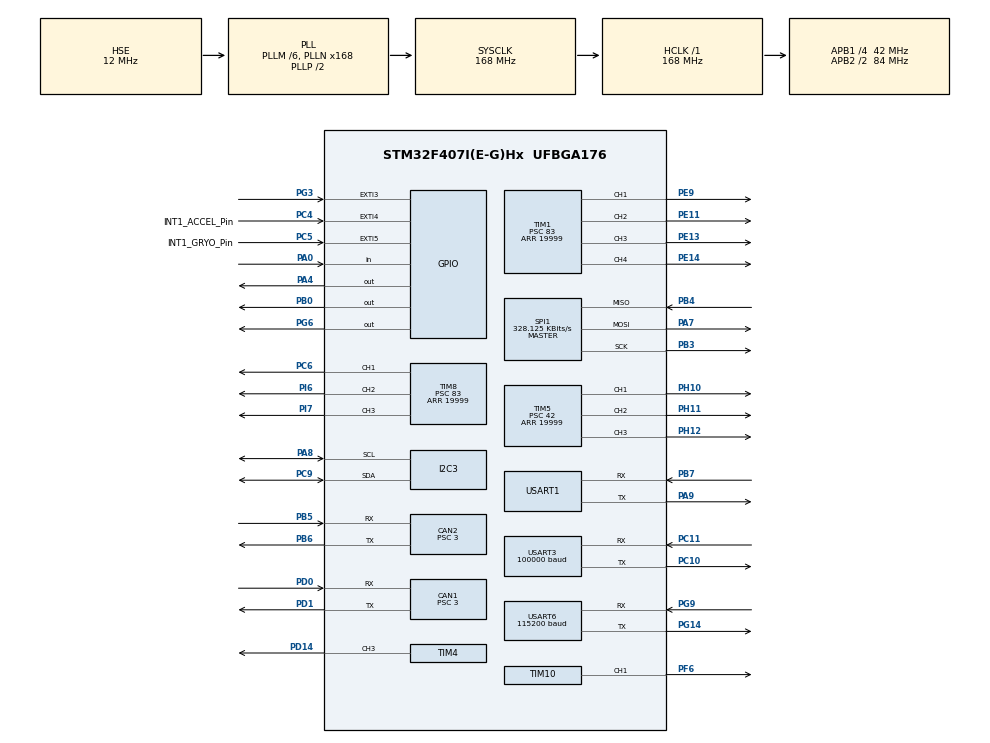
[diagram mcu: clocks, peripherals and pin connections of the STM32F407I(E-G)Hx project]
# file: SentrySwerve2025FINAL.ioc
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CAN1.BS1=CAN_BS1_10TQ
CAN1.BS2=CAN_BS2_3TQ
CAN1.CalculateBaudRate=1000000
CAN1.CalculateTimeBit=1000
CAN1.CalculateTimeQuantum=71.42857142857143
CAN1.Prescaler=3
CAN2.BS1=CAN_BS1_10TQ
CAN2.BS2=CAN_BS2_3TQ
CAN2.CalculateBaudRate=1000000
CAN2.CalculateTimeBit=1000
CAN2.CalculateTimeQuantum=71.42857142857143
CAN2.Prescaler=3
Dma.Request0=USART3_RX
Dma.Request1=USART1_RX
Dma.Request2=USART6_RX
Dma.USART1_RX.1.Direction=DMA_PERIPH_TO_MEMORY
Dma.USART1_RX.1.FIFOMode=DMA_FIFOMODE_DISABLE
Dma.USART1_RX.1.Instance=DMA2_Stream2
Dma.USART1_RX.1.MemDataAlignment=DMA_MDATAALIGN_BYTE
Dma.USART1_RX.1.MemInc=DMA_MINC_ENABLE
Dma.USART1_RX.1.Mode=DMA_NORMAL
Dma.USART1_RX.1.PeriphDataAlignment=DMA_PDATAALIGN_BYTE
Dma.USART1_RX.1.PeriphInc=DMA_PINC_DISABLE
Dma.USART1_RX.1.Priority=DMA_PRIORITY_VERY_HIGH
Dma.USART3_RX.0.Direction=DMA_PERIPH_TO_MEMORY
Dma.USART3_RX.0.FIFOMode=DMA_FIFOMODE_DISABLE
Dma.USART3_RX.0.Instance=DMA1_Stream1
Dma.USART3_RX.0.MemDataAlignment=DMA_MDATAALIGN_BYTE
Dma.USART3_RX.0.MemInc=DMA_MINC_ENABLE
Dma.USART3_RX.0.Mode=DMA_CIRCULAR
Dma.USART3_RX.0.PeriphDataAlignment=DMA_PDATAALIGN_BYTE
Dma.USART3_RX.0.PeriphInc=DMA_PINC_DISABLE
Dma.USART3_RX.0.Priority=DMA_PRIORITY_VERY_HIGH
Dma.USART6_RX.2.Direction=DMA_PERIPH_TO_MEMORY
Dma.USART6_RX.2.FIFOMode=DMA_FIFOMODE_DISABLE
Dma.USART6_RX.2.Instance=DMA2_Stream1
Dma.USART6_RX.2.MemDataAlignment=DMA_MDATAALIGN_BYTE
Dma.USART6_RX.2.MemInc=DMA_MINC_ENABLE
Dma.USART6_RX.2.Mode=DMA_NORMAL
Dma.USART6_RX.2.PeriphDataAlignment=DMA_PDATAALIGN_BYTE
Dma.USART6_RX.2.PeriphInc=DMA_PINC_DISABLE
Dma.USART6_RX.2.Priority=DMA_PRIORITY_VERY_HIGH
FREERTOS.INCLUDE_pcTaskGetTaskName=1
FREERTOS.INCLUDE_xTaskGetHandle=1
FREERTOS.Tasks01=FlowManager,48,128,StartFlowManager,Default,NULL,Dynamic,NULL,NULL;IMUtempPIDtask,24,512,imu_temp_control_task,As weak,NULL,Dynamic,NULL,NULL;ChassisTask,24,1024,StartChassisTask,Default,NULL,Dynamic,NULL,NULL;SentryAutonomy,24,128,StartSentryAutonomy,Default,NULL,Dynamic,NULL,NULL
FREERTOS.configUSE_NEWLIB_REENTRANT=1
I2C3.I2C_Mode=I2C_Fast
Mcu.Family=STM32F4
Mcu.Name=STM32F407I(E-G)Hx
Mcu.Package=UFBGA176
NVIC.CAN1_RX0_IRQn=true\:5\:0\:false\:false\:true\:true\:true\:true\:true
NVIC.CAN2_RX0_IRQn=true\:5\:0\:false\:false\:true\:true\:true\:true\:true
NVIC.DMA1_Stream1_IRQn=true\:5\:0\:false\:false\:true\:true\:false\:true\:true
NVIC.DMA2_Stream1_IRQn=true\:5\:0\:false\:false\:true\:true\:false\:true\:true
NVIC.DMA2_Stream2_IRQn=true\:5\:0\:false\:false\:true\:true\:false\:true\:true
NVIC.EXTI3_IRQn=true\:5\:0\:false\:false\:true\:true\:true\:true\:true
NVIC.EXTI4_IRQn=true\:5\:0\:false\:false\:true\:true\:true\:true\:true
NVIC.PriorityGroup=NVIC_PRIORITYGROUP_4
NVIC.USART1_IRQn=true\:5\:0\:false\:false\:true\:true\:true\:true\:true
NVIC.USART6_IRQn=true\:5\:0\:false\:false\:true\:true\:true\:true\:true
PA0-WKUP.Signal=GPIO_Input
PA13.Mode=Serial_Wire
PA13.Signal=SYS_JTMS-SWDIO
PA14.Mode=Serial_Wire
PA14.Signal=SYS_JTCK-SWCLK
PA4.Signal=GPIO_Output
PA7.Mode=Full_Duplex_Master
PA7.Signal=SPI1_MOSI
PA8.Mode=I2C
PA8.Signal=I2C3_SCL
PA9.Mode=Asynchronous
PA9.Signal=USART1_TX
PB0.Signal=GPIO_Output
PB3.Mode=Full_Duplex_Master
PB3.Signal=SPI1_SCK
PB4.Mode=Full_Duplex_Master
PB4.Signal=SPI1_MISO
PB5.Mode=CAN_Activate
PB5.Signal=CAN2_RX
PB6.Mode=CAN_Activate
PB6.Signal=CAN2_TX
PB7.Mode=Asynchronous
PB7.Signal=USART1_RX
PC10.Mode=Asynchronous
PC10.Signal=USART3_TX
PC11.Mode=Asynchronous
PC11.Signal=USART3_RX
PC4.GPIO_Label=INT1_ACCEL_Pin
PC4.Signal=GPXTI4
PC5.GPIO_Label=INT1_GRYO_Pin
PC5.Signal=GPXTI5
PC6.Signal=S_TIM8_CH1
PC9.Mode=I2C
PC9.Signal=I2C3_SDA
PD0.Mode=CAN_Activate
PD0.Signal=CAN1_RX
PD1.Mode=CAN_Activate
PD1.Signal=CAN1_TX
PD14.Signal=S_TIM4_CH3
PE11.Signal=S_TIM1_CH2
PE13.Signal=S_TIM1_CH3
PE14.Signal=S_TIM1_CH4
PE9.Signal=S_TIM1_CH1
PF6.GPIO_PuPd=GPIO_PULLUP
PF6.GPIO_Speed=GPIO_SPEED_FREQ_HIGH
PF6.Signal=S_TIM10_CH1
PG14.Mode=Asynchronous
PG14.Signal=USART6_TX
PG3.Signal=GPXTI3
PG6.Signal=GPIO_Output
PG9.Mode=Asynchronous
PG9.Signal=USART6_RX
PH0-OSC_IN.Mode=HSE-External-Oscillator
PH0-OSC_IN.Signal=RCC_OSC_IN
PH1-OSC_OUT.Mode=HSE-External-Oscillator
PH1-OSC_OUT.Signal=RCC_OSC_OUT
PH10.Signal=S_TIM5_CH1
PH11.Signal=S_TIM5_CH2
PH12.Signal=S_TIM5_CH3
PI6.Signal=S_TIM8_CH2
PI7.Signal=S_TIM8_CH3
ProjectManager.HeapSize=0x200
ProjectManager.StackSize=0x400
ProjectManager.TargetToolchain=STM32CubeIDE
RCC.48MHZClocksFreq_Value=84000000
RCC.AHBFreq_Value=168000000
RCC.APB1CLKDivider=RCC_HCLK_DIV4
RCC.APB1Freq_Value=42000000
RCC.APB1TimFreq_Value=84000000
RCC.APB2CLKDivider=RCC_HCLK_DIV2
RCC.APB2Freq_Value=84000000
RCC.APB2TimFreq_Value=168000000
RCC.CortexFreq_Value=168000000
RCC.EnbaleCSS=true
RCC.HCLKFreq_Value=168000000
RCC.HSE_VALUE=12000000
RCC.HSI_VALUE=16000000
RCC.LSE_VALUE=32768
RCC.PLLM=6
RCC.PLLN=168
RCC.PLLSourceVirtual=RCC_PLLSOURCE_HSE
RCC.SYSCLKFreq_VALUE=168000000
RCC.SYSCLKSource=RCC_SYSCLKSOURCE_PLLCLK
RCC.VCOOutputFreq_Value=336000000
SH.S_TIM10_CH1.0=TIM10_CH1,PWM Generation1 CH1
SH.S_TIM1_CH1.0=TIM1_CH1,PWM Generation1 CH1
SH.S_TIM1_CH2.0=TIM1_CH2,PWM Generation2 CH2
SH.S_TIM1_CH3.0=TIM1_CH3,PWM Generation3 CH3
SH.S_TIM1_CH4.0=TIM1_CH4,PWM Generation4 CH4
SH.S_TIM4_CH3.0=TIM4_CH3,PWM Generation3 CH3
SH.S_TIM5_CH1.0=TIM5_CH1,PWM Generation1 CH1
SH.S_TIM5_CH2.0=TIM5_CH2,PWM Generation2 CH2
SH.S_TIM5_CH3.0=TIM5_CH3,PWM Generation3 CH3
SH.S_TIM8_CH1.0=TIM8_CH1,PWM Generation1 CH1
SH.S_TIM8_CH2.0=TIM8_CH2,PWM Generation2 CH2
SH.S_TIM8_CH3.0=TIM8_CH3,PWM Generation3 CH3
SPI1.BaudRatePrescaler=SPI_BAUDRATEPRESCALER_256
SPI1.CLKPhase=SPI_PHASE_2EDGE
SPI1.CLKPolarity=SPI_POLARITY_HIGH
SPI1.CalculateBaudRate=328.125 KBits/s
SPI1.Direction=SPI_DIRECTION_2LINES
SPI1.Mode=SPI_MODE_MASTER
SPI1.VirtualType=VM_MASTER
TIM1.AutoReloadPreload=TIM_AUTORELOAD_PRELOAD_DISABLE
TIM1.Channel-PWM\ Generation1\ CH1=TIM_CHANNEL_1
TIM1.Channel-PWM\ Generation2\ CH2=TIM_CHANNEL_2
TIM1.Channel-PWM\ Generation3\ CH3=TIM_CHANNEL_3
TIM1.Channel-PWM\ Generation4\ CH4=TIM_CHANNEL_4
TIM1.Period=19999
TIM1.Prescaler=83
TIM1.Pulse-PWM\ Generation1\ CH1=0
TIM10.Channel=TIM_CHANNEL_1
TIM10.Period=4999
TIM4.AutoReloadPreload=TIM_AUTORELOAD_PRELOAD_ENABLE
TIM4.Channel-PWM\ Generation3\ CH3=TIM_CHANNEL_3
TIM4.Period=20999
TIM4.Pulse-PWM\ Generation3\ CH3=10499
TIM5.Channel-PWM\ Generation1\ CH1=TIM_CHANNEL_1
TIM5.Channel-PWM\ Generation2\ CH2=TIM_CHANNEL_2
TIM5.Channel-PWM\ Generation3\ CH3=TIM_CHANNEL_3
TIM5.Period=19999
TIM5.Prescaler=42
TIM8.AutoReloadPreload=TIM_AUTORELOAD_PRELOAD_ENABLE
TIM8.Channel-PWM\ Generation1\ CH1=TIM_CHANNEL_1
TIM8.Channel-PWM\ Generation2\ CH2=TIM_CHANNEL_2
TIM8.Channel-PWM\ Generation3\ CH3=TIM_CHANNEL_3
TIM8.Period=19999
TIM8.Prescaler=83
USART1.VirtualMode=VM_ASYNC
USART3.BaudRate=100000
USART3.Parity=PARITY_EVEN
USART3.VirtualMode=VM_ASYNC
USART6.BaudRate=115200
USART6.VirtualMode=VM_ASYNC
VP_FREERTOS_VS_CMSIS_V2.Mode=CMSIS_V2
VP_TIM10_VS_ClockSourceINT.Mode=Enable_Timer
VP_TIM4_VS_ClockSourceINT.Mode=Internal
board=custom

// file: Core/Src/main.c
/* USER CODE BEGIN Header */
/**
  ******************************************************************************
  * @file           : main.c
  * @brief          : Main program body
  ******************************************************************************
  * @attention
  *
  * Copyright (c) 2025 STMicroelectronics.
  * All rights reserved.
  *
  * This software is licensed under terms that can be found in the LICENSE file
  * in the root directory of this software component.
  * If no LICENSE file comes with this software, it is provided AS-IS.
  *
  ******************************************************************************
  */
/* USER CODE END Header */
#include "main.h"
#include "cmsis_os.h"

/* USER CODE BEGIN Includes */
#include "UART_RM25.h"
#include "DBUS.h"
// #include "CC_Handler.h"
#include "CAN.h"
#include "CAL_RM25.h"

#include "BMI088driver.h"
#include "BMI088Middleware.h"
#include "BMI088reg.h"
#include "SWERVE.h"
#include "SwerveBuffer.h"
/* USER CODE END Includes */

CAN_HandleTypeDef hcan1;
CAN_HandleTypeDef hcan2;

I2C_HandleTypeDef hi2c3;

SPI_HandleTypeDef hspi1;

TIM_HandleTypeDef htim1;
TIM_HandleTypeDef htim4;
TIM_HandleTypeDef htim5;
TIM_HandleTypeDef htim8;
TIM_HandleTypeDef htim10;

UART_HandleTypeDef huart1;
UART_HandleTypeDef huart3;
UART_HandleTypeDef huart6;
DMA_HandleTypeDef hdma_usart1_rx;
DMA_HandleTypeDef hdma_usart3_rx;
DMA_HandleTypeDef hdma_usart6_rx;

/* Definitions for FlowManager */
osThreadId_t FlowManagerHandle;
const osThreadAttr_t FlowManager_attributes = {
  .name = "FlowManager",
  .stack_size = 128 * 4,
  .priority = (osPriority_t) osPriorityRealtime,
};
/* Definitions for IMUtempPIDtask */
osThreadId_t IMUtempPIDtaskHandle;
const osThreadAttr_t IMUtempPIDtask_attributes = {
  .name = "IMUtempPIDtask",
  .stack_size = 512 * 4,
  .priority = (osPriority_t) osPriorityNormal,
};
/* Definitions for ChassisTask */
osThreadId_t ChassisTaskHandle;
const osThreadAttr_t ChassisTask_attributes = {
  .name = "ChassisTask",
  .stack_size = 1024 * 4,
  .priority = (osPriority_t) osPriorityNormal,
};
/* Definitions for SentryAutonomy */
osThreadId_t SentryAutonomyHandle;
const osThreadAttr_t SentryAutonomy_attributes = {
  .name = "SentryAutonomy",
  .stack_size = 128 * 4,
  .priority = (osPriority_t) osPriorityNormal,
};

void SystemClock_Config(void);
static void MX_GPIO_Init(void);
static void MX_DMA_Init(void);
static void MX_CAN1_Init(void);
static void MX_CAN2_Init(void);
static void MX_SPI1_Init(void);
static void MX_TIM4_Init(void);
static void MX_USART1_UART_Init(void);
static void MX_USART6_UART_Init(void);
static void MX_TIM1_Init(void);
static void MX_TIM8_Init(void);
static void MX_USART3_UART_Init(void);
static void MX_TIM10_Init(void);
static void MX_I2C3_Init(void);
static void MX_TIM5_Init(void);
void StartFlowManager(void *argument);
void imu_temp_control_task(void *argument);
void StartChassisTask(void *argument);
void StartSentryAutonomy(void *argument);

int main(void)
{

  /* MCU Configuration--------------------------------------------------------*/

  /* Reset of all peripherals, Initializes the Flash interface and the Systick. */
  HAL_Init();

  /* Configure the system clock */
  SystemClock_Config();

  /* Initialize all configured peripherals */
  MX_GPIO_Init();
  MX_DMA_Init();
  MX_CAN1_Init();
  MX_CAN2_Init();
  MX_SPI1_Init();
  MX_TIM4_Init();
  MX_USART1_UART_Init();
  MX_USART6_UART_Init();
  MX_TIM1_Init();
  MX_TIM8_Init();
  MX_USART3_UART_Init();
  MX_TIM10_Init();
  MX_I2C3_Init();
  MX_TIM5_Init();

  /* Init scheduler */
  osKernelInitialize();

  /* Create the thread(s) */
  /* creation of FlowManager */
  FlowManagerHandle = osThreadNew(StartFlowManager, NULL, &FlowManager_attributes);

  /* creation of IMUtempPIDtask */
  IMUtempPIDtaskHandle = osThreadNew(imu_temp_control_task, NULL, &IMUtempPIDtask_attributes);

  /* creation of ChassisTask */
  ChassisTaskHandle = osThreadNew(StartChassisTask, NULL, &ChassisTask_attributes);

  /* creation of SentryAutonomy */
  SentryAutonomyHandle = osThreadNew(StartSentryAutonomy, NULL, &SentryAutonomy_attributes);

  /* Start scheduler */
  osKernelStart();

  /* We should never get here as control is now taken by the scheduler */

  /* Infinite loop */
  while (1)
  {

  }
}

void SystemClock_Config(void)
{
  RCC_OscInitTypeDef RCC_OscInitStruct = {0};
  RCC_ClkInitTypeDef RCC_ClkInitStruct = {0};

  /** Configure the main internal regulator output voltage
  */
  __HAL_RCC_PWR_CLK_ENABLE();
  __HAL_PWR_VOLTAGESCALING_CONFIG(PWR_REGULATOR_VOLTAGE_SCALE1);

  /** Initializes the RCC Oscillators according to the specified parameters
  * in the RCC_OscInitTypeDef structure.
  */
  RCC_OscInitStruct.OscillatorType = RCC_OSCILLATORTYPE_HSE;
  RCC_OscInitStruct.HSEState = RCC_HSE_ON;
  RCC_OscInitStruct.PLL.PLLState = RCC_PLL_ON;
  RCC_OscInitStruct.PLL.PLLSource = RCC_PLLSOURCE_HSE;
  RCC_OscInitStruct.PLL.PLLM = 6;
  RCC_OscInitStruct.PLL.PLLN = 168;
  RCC_OscInitStruct.PLL.PLLP = RCC_PLLP_DIV2;
  RCC_OscInitStruct.PLL.PLLQ = 4;
  if (HAL_RCC_OscConfig(&RCC_OscInitStruct) != HAL_OK)
  {
    Error_Handler();
  }

  /** Initializes the CPU, AHB and APB buses clocks
  */
  RCC_ClkInitStruct.ClockType = RCC_CLOCKTYPE_HCLK|RCC_CLOCKTYPE_SYSCLK
                              |RCC_CLOCKTYPE_PCLK1|RCC_CLOCKTYPE_PCLK2;
  RCC_ClkInitStruct.SYSCLKSource = RCC_SYSCLKSOURCE_PLLCLK;
  RCC_ClkInitStruct.AHBCLKDivider = RCC_SYSCLK_DIV1;
  RCC_ClkInitStruct.APB1CLKDivider = RCC_HCLK_DIV4;
  RCC_ClkInitStruct.APB2CLKDivider = RCC_HCLK_DIV2;

  if (HAL_RCC_ClockConfig(&RCC_ClkInitStruct, FLASH_LATENCY_5) != HAL_OK)
  {
    Error_Handler();
  }

  /** Enables the Clock Security System
  */
  HAL_RCC_EnableCSS();
}

static void MX_CAN1_Init(void)
{

  hcan1.Instance = CAN1;
  hcan1.Init.Prescaler = 3;
  hcan1.Init.Mode = CAN_MODE_NORMAL;
  hcan1.Init.SyncJumpWidth = CAN_SJW_1TQ;
  hcan1.Init.TimeSeg1 = CAN_BS1_10TQ;
  hcan1.Init.TimeSeg2 = CAN_BS2_3TQ;
  hcan1.Init.TimeTriggeredMode = DISABLE;
  hcan1.Init.AutoBusOff = DISABLE;
  hcan1.Init.AutoWakeUp = DISABLE;
  hcan1.Init.AutoRetransmission = DISABLE;
  hcan1.Init.ReceiveFifoLocked = DISABLE;
  hcan1.Init.TransmitFifoPriority = DISABLE;
  if (HAL_CAN_Init(&hcan1) != HAL_OK)
  {
    Error_Handler();
  }

}

static void MX_CAN2_Init(void)
{

  hcan2.Instance = CAN2;
  hcan2.Init.Prescaler = 3;
  hcan2.Init.Mode = CAN_MODE_NORMAL;
  hcan2.Init.SyncJumpWidth = CAN_SJW_1TQ;
  hcan2.Init.TimeSeg1 = CAN_BS1_10TQ;
  hcan2.Init.TimeSeg2 = CAN_BS2_3TQ;
  hcan2.Init.TimeTriggeredMode = DISABLE;
  hcan2.Init.AutoBusOff = DISABLE;
  hcan2.Init.AutoWakeUp = DISABLE;
  hcan2.Init.AutoRetransmission = DISABLE;
  hcan2.Init.ReceiveFifoLocked = DISABLE;
  hcan2.Init.TransmitFifoPriority = DISABLE;
  if (HAL_CAN_Init(&hcan2) != HAL_OK)
  {
    Error_Handler();
  }

}

static void MX_I2C3_Init(void)
{

  hi2c3.Instance = I2C3;
  hi2c3.Init.ClockSpeed = 400000;
  hi2c3.Init.DutyCycle = I2C_DUTYCYCLE_2;
  hi2c3.Init.OwnAddress1 = 0;
  hi2c3.Init.AddressingMode = I2C_ADDRESSINGMODE_7BIT;
  hi2c3.Init.DualAddressMode = I2C_DUALADDRESS_DISABLE;
  hi2c3.Init.OwnAddress2 = 0;
  hi2c3.Init.GeneralCallMode = I2C_GENERALCALL_DISABLE;
  hi2c3.Init.NoStretchMode = I2C_NOSTRETCH_DISABLE;
  if (HAL_I2C_Init(&hi2c3) != HAL_OK)
  {
    Error_Handler();
  }

}

static void MX_SPI1_Init(void)
{

  /* SPI1 parameter configuration*/
  hspi1.Instance = SPI1;
  hspi1.Init.Mode = SPI_MODE_MASTER;
  hspi1.Init.Direction = SPI_DIRECTION_2LINES;
  hspi1.Init.DataSize = SPI_DATASIZE_8BIT;
  hspi1.Init.CLKPolarity = SPI_POLARITY_HIGH;
  hspi1.Init.CLKPhase = SPI_PHASE_2EDGE;
  hspi1.Init.NSS = SPI_NSS_SOFT;
  hspi1.Init.BaudRatePrescaler = SPI_BAUDRATEPRESCALER_256;
  hspi1.Init.FirstBit = SPI_FIRSTBIT_MSB;
  hspi1.Init.TIMode = SPI_TIMODE_DISABLE;
  hspi1.Init.CRCCalculation = SPI_CRCCALCULATION_DISABLE;
  hspi1.Init.CRCPolynomial = 10;
  if (HAL_SPI_Init(&hspi1) != HAL_OK)
  {
    Error_Handler();
  }

}

static void MX_TIM1_Init(void)
{

  TIM_MasterConfigTypeDef sMasterConfig = {0};
  TIM_OC_InitTypeDef sConfigOC = {0};
  TIM_BreakDeadTimeConfigTypeDef sBreakDeadTimeConfig = {0};

  htim1.Instance = TIM1;
  htim1.Init.Prescaler = 83;
  htim1.Init.CounterMode = TIM_COUNTERMODE_UP;
  htim1.Init.Period = 19999;
  htim1.Init.ClockDivision = TIM_CLOCKDIVISION_DIV1;
  htim1.Init.RepetitionCounter = 0;
  htim1.Init.AutoReloadPreload = TIM_AUTORELOAD_PRELOAD_DISABLE;
  if (HAL_TIM_PWM_Init(&htim1) != HAL_OK)
  {
    Error_Handler();
  }
  sMasterConfig.MasterOutputTrigger = TIM_TRGO_RESET;
  sMasterConfig.MasterSlaveMode = TIM_MASTERSLAVEMODE_DISABLE;
  if (HAL_TIMEx_MasterConfigSynchronization(&htim1, &sMasterConfig) != HAL_OK)
  {
    Error_Handler();
  }
  sConfigOC.OCMode = TIM_OCMODE_PWM1;
  sConfigOC.Pulse = 0;
  sConfigOC.OCPolarity = TIM_OCPOLARITY_HIGH;
  sConfigOC.OCNPolarity = TIM_OCNPOLARITY_HIGH;
  sConfigOC.OCFastMode = TIM_OCFAST_DISABLE;
  sConfigOC.OCIdleState = TIM_OCIDLESTATE_RESET;
  sConfigOC.OCNIdleState = TIM_OCNIDLESTATE_RESET;
  if (HAL_TIM_PWM_ConfigChannel(&htim1, &sConfigOC, TIM_CHANNEL_1) != HAL_OK)
  {
    Error_Handler();
  }
  if (HAL_TIM_PWM_ConfigChannel(&htim1, &sConfigOC, TIM_CHANNEL_2) != HAL_OK)
  {
    Error_Handler();
  }
  if (HAL_TIM_PWM_ConfigChannel(&htim1, &sConfigOC, TIM_CHANNEL_3) != HAL_OK)
  {
    Error_Handler();
  }
  if (HAL_TIM_PWM_ConfigChannel(&htim1, &sConfigOC, TIM_CHANNEL_4) != HAL_OK)
  {
    Error_Handler();
  }
  sBreakDeadTimeConfig.OffStateRunMode = TIM_OSSR_DISABLE;
  sBreakDeadTimeConfig.OffStateIDLEMode = TIM_OSSI_DISABLE;
  sBreakDeadTimeConfig.LockLevel = TIM_LOCKLEVEL_OFF;
  sBreakDeadTimeConfig.DeadTime = 0;
  sBreakDeadTimeConfig.BreakState = TIM_BREAK_DISABLE;
  sBreakDeadTimeConfig.BreakPolarity = TIM_BREAKPOLARITY_HIGH;
  sBreakDeadTimeConfig.AutomaticOutput = TIM_AUTOMATICOUTPUT_DISABLE;
  if (HAL_TIMEx_ConfigBreakDeadTime(&htim1, &sBreakDeadTimeConfig) != HAL_OK)
  {
    Error_Handler();
  }
  HAL_TIM_MspPostInit(&htim1);

}

static void MX_TIM4_Init(void)
{

  TIM_ClockConfigTypeDef sClockSourceConfig = {0};
  TIM_MasterConfigTypeDef sMasterConfig = {0};
  TIM_OC_InitTypeDef sConfigOC = {0};

  htim4.Instance = TIM4;
  htim4.Init.Prescaler = 0;
  htim4.Init.CounterMode = TIM_COUNTERMODE_UP;
  htim4.Init.Period = 20999;
  htim4.Init.ClockDivision = TIM_CLOCKDIVISION_DIV1;
  htim4.Init.AutoReloadPreload = TIM_AUTORELOAD_PRELOAD_ENABLE;
  if (HAL_TIM_Base_Init(&htim4) != HAL_OK)
  {
    Error_Handler();
  }
  sClockSourceConfig.ClockSource = TIM_CLOCKSOURCE_INTERNAL;
  if (HAL_TIM_ConfigClockSource(&htim4, &sClockSourceConfig) != HAL_OK)
  {
    Error_Handler();
  }
  if (HAL_TIM_PWM_Init(&htim4) != HAL_OK)
  {
    Error_Handler();
  }
  sMasterConfig.MasterOutputTrigger = TIM_TRGO_RESET;
  sMasterConfig.MasterSlaveMode = TIM_MASTERSLAVEMODE_DISABLE;
  if (HAL_TIMEx_MasterConfigSynchronization(&htim4, &sMasterConfig) != HAL_OK)
  {
    Error_Handler();
  }
  sConfigOC.OCMode = TIM_OCMODE_PWM1;
  sConfigOC.Pulse = 10499;
  sConfigOC.OCPolarity = TIM_OCPOLARITY_HIGH;
  sConfigOC.OCFastMode = TIM_OCFAST_DISABLE;
  if (HAL_TIM_PWM_ConfigChannel(&htim4, &sConfigOC, TIM_CHANNEL_3) != HAL_OK)
  {
    Error_Handler();
  }
  HAL_TIM_MspPostInit(&htim4);

}

static void MX_TIM5_Init(void)
{

  TIM_MasterConfigTypeDef sMasterConfig = {0};
  TIM_OC_InitTypeDef sConfigOC = {0};

  htim5.Instance = TIM5;
  htim5.Init.Prescaler = 42;
  htim5.Init.CounterMode = TIM_COUNTERMODE_UP;
  htim5.Init.Period = 19999;
  htim5.Init.ClockDivision = TIM_CLOCKDIVISION_DIV1;
  htim5.Init.AutoReloadPreload = TIM_AUTORELOAD_PRELOAD_DISABLE;
  if (HAL_TIM_PWM_Init(&htim5) != HAL_OK)
  {
    Error_Handler();
  }
  sMasterConfig.MasterOutputTrigger = TIM_TRGO_RESET;
  sMasterConfig.MasterSlaveMode = TIM_MASTERSLAVEMODE_DISABLE;
  if (HAL_TIMEx_MasterConfigSynchronization(&htim5, &sMasterConfig) != HAL_OK)
  {
    Error_Handler();
  }
  sConfigOC.OCMode = TIM_OCMODE_PWM1;
  sConfigOC.Pulse = 0;
  sConfigOC.OCPolarity = TIM_OCPOLARITY_HIGH;
  sConfigOC.OCFastMode = TIM_OCFAST_DISABLE;
  if (HAL_TIM_PWM_ConfigChannel(&htim5, &sConfigOC, TIM_CHANNEL_1) != HAL_OK)
  {
    Error_Handler();
  }
  if (HAL_TIM_PWM_ConfigChannel(&htim5, &sConfigOC, TIM_CHANNEL_2) != HAL_OK)
  {
    Error_Handler();
  }
  if (HAL_TIM_PWM_ConfigChannel(&htim5, &sConfigOC, TIM_CHANNEL_3) != HAL_OK)
  {
    Error_Handler();
  }
  HAL_TIM_MspPostInit(&htim5);

}

static void MX_TIM8_Init(void)
{

  TIM_MasterConfigTypeDef sMasterConfig = {0};
  TIM_OC_InitTypeDef sConfigOC = {0};
  TIM_BreakDeadTimeConfigTypeDef sBreakDeadTimeConfig = {0};

  htim8.Instance = TIM8;
  htim8.Init.Prescaler = 83;
  htim8.Init.CounterMode = TIM_COUNTERMODE_UP;
  htim8.Init.Period = 19999;
  htim8.Init.ClockDivision = TIM_CLOCKDIVISION_DIV1;
  htim8.Init.RepetitionCounter = 0;
  htim8.Init.AutoReloadPreload = TIM_AUTORELOAD_PRELOAD_ENABLE;
  if (HAL_TIM_PWM_Init(&htim8) != HAL_OK)
  {
    Error_Handler();
  }
  sMasterConfig.MasterOutputTrigger = TIM_TRGO_RESET;
  sMasterConfig.MasterSlaveMode = TIM_MASTERSLAVEMODE_DISABLE;
  if (HAL_TIMEx_MasterConfigSynchronization(&htim8, &sMasterConfig) != HAL_OK)
  {
    Error_Handler();
  }
  sConfigOC.OCMode = TIM_OCMODE_PWM1;
  sConfigOC.Pulse = 0;
  sConfigOC.OCPolarity = TIM_OCPOLARITY_HIGH;
  sConfigOC.OCNPolarity = TIM_OCNPOLARITY_HIGH;
  sConfigOC.OCFastMode = TIM_OCFAST_DISABLE;
  sConfigOC.OCIdleState = TIM_OCIDLESTATE_RESET;
  sConfigOC.OCNIdleState = TIM_OCNIDLESTATE_RESET;
  if (HAL_TIM_PWM_ConfigChannel(&htim8, &sConfigOC, TIM_CHANNEL_1) != HAL_OK)
  {
    Error_Handler();
  }
  if (HAL_TIM_PWM_ConfigChannel(&htim8, &sConfigOC, TIM_CHANNEL_2) != HAL_OK)
  {
    Error_Handler();
  }
  if (HAL_TIM_PWM_ConfigChannel(&htim8, &sConfigOC, TIM_CHANNEL_3) != HAL_OK)
  {
    Error_Handler();
  }
  sBreakDeadTimeConfig.OffStateRunMode = TIM_OSSR_DISABLE;
  sBreakDeadTimeConfig.OffStateIDLEMode = TIM_OSSI_DISABLE;
  sBreakDeadTimeConfig.LockLevel = TIM_LOCKLEVEL_OFF;
  sBreakDeadTimeConfig.DeadTime = 0;
  sBreakDeadTimeConfig.BreakState = TIM_BREAK_DISABLE;
  sBreakDeadTimeConfig.BreakPolarity = TIM_BREAKPOLARITY_HIGH;
  sBreakDeadTimeConfig.AutomaticOutput = TIM_AUTOMATICOUTPUT_DISABLE;
  if (HAL_TIMEx_ConfigBreakDeadTime(&htim8, &sBreakDeadTimeConfig) != HAL_OK)
  {
    Error_Handler();
  }
  HAL_TIM_MspPostInit(&htim8);

}

static void MX_TIM10_Init(void)
{

  TIM_OC_InitTypeDef sConfigOC = {0};

  htim10.Instance = TIM10;
  htim10.Init.Prescaler = 0;
  htim10.Init.CounterMode = TIM_COUNTERMODE_UP;
  htim10.Init.Period = 4999;
  htim10.Init.ClockDivision = TIM_CLOCKDIVISION_DIV1;
  htim10.Init.AutoReloadPreload = TIM_AUTORELOAD_PRELOAD_DISABLE;
  if (HAL_TIM_Base_Init(&htim10) != HAL_OK)
  {
    Error_Handler();
  }
  if (HAL_TIM_PWM_Init(&htim10) != HAL_OK)
  {
    Error_Handler();
  }
  sConfigOC.OCMode = TIM_OCMODE_PWM1;
  sConfigOC.Pulse = 0;
  sConfigOC.OCPolarity = TIM_OCPOLARITY_HIGH;
  sConfigOC.OCFastMode = TIM_OCFAST_DISABLE;
  if (HAL_TIM_PWM_ConfigChannel(&htim10, &sConfigOC, TIM_CHANNEL_1) != HAL_OK)
  {
    Error_Handler();
  }
  HAL_TIM_MspPostInit(&htim10);

}

static void MX_USART1_UART_Init(void)
{

  huart1.Instance = USART1;
  huart1.Init.BaudRate = 115200;
  huart1.Init.WordLength = UART_WORDLENGTH_8B;
  huart1.Init.StopBits = UART_STOPBITS_1;
  huart1.Init.Parity = UART_PARITY_NONE;
  huart1.Init.Mode = UART_MODE_TX_RX;
  huart1.Init.HwFlowCtl = UART_HWCONTROL_NONE;
  huart1.Init.OverSampling = UART_OVERSAMPLING_16;
  if (HAL_UART_Init(&huart1) != HAL_OK)
  {
    Error_Handler();
  }

}

static void MX_USART3_UART_Init(void)
{

  huart3.Instance = USART3;
  huart3.Init.BaudRate = 100000;
  huart3.Init.WordLength = UART_WORDLENGTH_8B;
  huart3.Init.StopBits = UART_STOPBITS_1;
  huart3.Init.Parity = UART_PARITY_EVEN;
  huart3.Init.Mode = UART_MODE_TX_RX;
  huart3.Init.HwFlowCtl = UART_HWCONTROL_NONE;
  huart3.Init.OverSampling = UART_OVERSAMPLING_16;
  if (HAL_UART_Init(&huart3) != HAL_OK)
  {
    Error_Handler();
  }

}

static void MX_USART6_UART_Init(void)
{

  huart6.Instance = USART6;
  huart6.Init.BaudRate = 115200;
  huart6.Init.WordLength = UART_WORDLENGTH_8B;
  huart6.Init.StopBits = UART_STOPBITS_1;
  huart6.Init.Parity = UART_PARITY_NONE;
  huart6.Init.Mode = UART_MODE_TX_RX;
  huart6.Init.HwFlowCtl = UART_HWCONTROL_NONE;
  huart6.Init.OverSampling = UART_OVERSAMPLING_16;
  if (HAL_UART_Init(&huart6) != HAL_OK)
  {
    Error_Handler();
  }

}

static void MX_DMA_Init(void)
{

  /* DMA controller clock enable */
  __HAL_RCC_DMA1_CLK_ENABLE();
  __HAL_RCC_DMA2_CLK_ENABLE();

  /* DMA interrupt init */
  /* DMA1_Stream1_IRQn interrupt configuration */
  HAL_NVIC_SetPriority(DMA1_Stream1_IRQn, 5, 0);
  HAL_NVIC_EnableIRQ(DMA1_Stream1_IRQn);
  /* DMA2_Stream1_IRQn interrupt configuration */
  HAL_NVIC_SetPriority(DMA2_Stream1_IRQn, 5, 0);
  HAL_NVIC_EnableIRQ(DMA2_Stream1_IRQn);
  /* DMA2_Stream2_IRQn interrupt configuration */
  HAL_NVIC_SetPriority(DMA2_Stream2_IRQn, 5, 0);
  HAL_NVIC_EnableIRQ(DMA2_Stream2_IRQn);

}

static void MX_GPIO_Init(void)
{
  GPIO_InitTypeDef GPIO_InitStruct = {0};

  /* GPIO Ports Clock Enable */
  __HAL_RCC_GPIOB_CLK_ENABLE();
  __HAL_RCC_GPIOG_CLK_ENABLE();
  __HAL_RCC_GPIOA_CLK_ENABLE();
  __HAL_RCC_GPIOD_CLK_ENABLE();
  __HAL_RCC_GPIOC_CLK_ENABLE();
  __HAL_RCC_GPIOI_CLK_ENABLE();
  __HAL_RCC_GPIOH_CLK_ENABLE();
  __HAL_RCC_GPIOF_CLK_ENABLE();
  __HAL_RCC_GPIOE_CLK_ENABLE();

  /*Configure GPIO pin Output Level */
  HAL_GPIO_WritePin(GPIOG, GPIO_PIN_6, GPIO_PIN_RESET);

  /*Configure GPIO pin Output Level */
  HAL_GPIO_WritePin(GPIOA, GPIO_PIN_4, GPIO_PIN_RESET);

  /*Configure GPIO pin Output Level */
  HAL_GPIO_WritePin(GPIOB, GPIO_PIN_0, GPIO_PIN_RESET);

  /*Configure GPIO pin : PG6 */
  GPIO_InitStruct.Pin = GPIO_PIN_6;
  GPIO_InitStruct.Mode = GPIO_MODE_OUTPUT_PP;
  GPIO_InitStruct.Pull = GPIO_NOPULL;
  GPIO_InitStruct.Speed = GPIO_SPEED_FREQ_LOW;
  HAL_GPIO_Init(GPIOG, &GPIO_InitStruct);

  /*Configure GPIO pin : PG3 */
  GPIO_InitStruct.Pin = GPIO_PIN_3;
  GPIO_InitStruct.Mode = GPIO_MODE_IT_RISING;
  GPIO_InitStruct.Pull = GPIO_NOPULL;
  HAL_GPIO_Init(GPIOG, &GPIO_InitStruct);

  /*Configure GPIO pin : PA0 */
  GPIO_InitStruct.Pin = GPIO_PIN_0;
  GPIO_InitStruct.Mode = GPIO_MODE_INPUT;
  GPIO_InitStruct.Pull = GPIO_NOPULL;
  HAL_GPIO_Init(GPIOA, &GPIO_InitStruct);

  /*Configure GPIO pin : PA4 */
  GPIO_InitStruct.Pin = GPIO_PIN_4;
  GPIO_InitStruct.Mode = GPIO_MODE_OUTPUT_PP;
  GPIO_InitStruct.Pull = GPIO_NOPULL;
  GPIO_InitStruct.Speed = GPIO_SPEED_FREQ_LOW;
  HAL_GPIO_Init(GPIOA, &GPIO_InitStruct);

  /*Configure GPIO pins : INT1_ACCEL_Pin_Pin INT1_GRYO_Pin_Pin */
  GPIO_InitStruct.Pin = INT1_ACCEL_Pin_Pin|INT1_GRYO_Pin_Pin;
  GPIO_InitStruct.Mode = GPIO_MODE_IT_RISING;
  GPIO_InitStruct.Pull = GPIO_NOPULL;
  HAL_GPIO_Init(GPIOC, &GPIO_InitStruct);

  /*Configure GPIO pin : PB0 */
  GPIO_InitStruct.Pin = GPIO_PIN_0;
  GPIO_InitStruct.Mode = GPIO_MODE_OUTPUT_PP;
  GPIO_InitStruct.Pull = GPIO_NOPULL;
  GPIO_InitStruct.Speed = GPIO_SPEED_FREQ_LOW;
  HAL_GPIO_Init(GPIOB, &GPIO_InitStruct);

  /* EXTI interrupt init*/
  HAL_NVIC_SetPriority(EXTI3_IRQn, 5, 0);
  HAL_NVIC_EnableIRQ(EXTI3_IRQn);

  HAL_NVIC_SetPriority(EXTI4_IRQn, 5, 0);
  HAL_NVIC_EnableIRQ(EXTI4_IRQn);

}

void StartFlowManager(void *argument)
{
  /* USER CODE BEGIN 5 */
	uint8_t iCount = 0;

	DBUS_Rx_Init(&huart3);

	UART_Ex_Init(&huart1);
	UART_Ex_Init(&huart6);
	CAN_Init();
	BMI088_gyro_init();
	int16_t axis2[3] = {0, 0, 0};
  /* Infinite loop */
  for(;;)
  {
	  DBUS_Update();
	  AllBufferCalculations(CAL_getBufferEnergy(), 0, axis2);

	  // UART_Printf(&huart1, "%d %d\r\n", CAL_getBufferEnergy(), CAL_getPowerLimit());

	  if(iCount%3==0){
		  CAL_Update();
	  }

	  //UART_Printf(&huart6,"DBUS Check: %d %d \n", getDR16_W(),getCC_W());
	  //UART_Printfmt(&huart6,"%d \n",getDR16_CH1());

	  if(iCount<255){
		  iCount++;
	  }else{
		  iCount = 0;
	  }
	  osDelay(1);
  }
  /* USER CODE END 5 */
}

__weak void imu_temp_control_task(void *argument)
{
  for(;;)
  {
    osDelay(1);
  }
}

/* USER CODE BEGIN Header_StartChassisTask */
/*
* @brief Function implementing the ChassisTask thread.
* @param argument: Not used
* @retval None
*/
/* USER CODE END Header_StartChassisTask */
void StartChassisTask(void *argument)
{
  /* USER CODE BEGIN StartChassisTask */
	PID_preset_t test = {5.0, 0.0, 0.0};
	int16_t axis[3] = {0, 0, 0};
  /* Infinite loop */
  for(;;)
  {
	  axis[0] = CAL_getFrontBack();
	  axis[1] = CAL_getRightLeft();
	  axis[2] = CAL_getChassisSpin();
	  // UART_Printf(&huart1, "%d\r\n", CAL_getTurretSpin());
	  Loop(axis, CAL_getTurretSpin());
	  UART_Printf(&huart1, "%d\r\n", CAL_getCurrentStage());
    osDelay(5);
  }
  /* USER CODE END StartChassisTask */
}

void StartSentryAutonomy(void *argument)
{
  /* USER CODE BEGIN StartSentryAutonomy */
  /* Infinite loop */
  for(;;)
  {
    osDelay(5);
  }
  /* USER CODE END StartSentryAutonomy */
}

void Error_Handler(void)
{
  __disable_irq();
  while (1)
  {
  }
}
